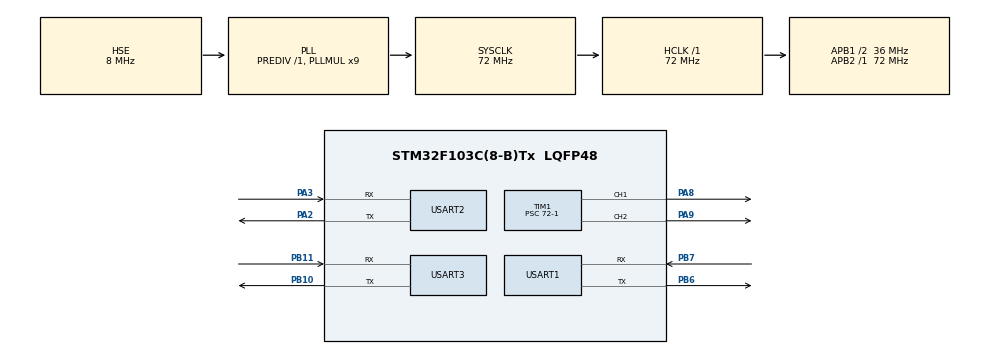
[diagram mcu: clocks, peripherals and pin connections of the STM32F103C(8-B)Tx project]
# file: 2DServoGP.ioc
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Dma.Request0=USART2_RX
Dma.Request1=USART2_TX
Dma.USART2_RX.0.Direction=DMA_PERIPH_TO_MEMORY
Dma.USART2_RX.0.Instance=DMA1_Channel6
Dma.USART2_RX.0.MemDataAlignment=DMA_MDATAALIGN_BYTE
Dma.USART2_RX.0.MemInc=DMA_MINC_ENABLE
Dma.USART2_RX.0.Mode=DMA_CIRCULAR
Dma.USART2_RX.0.PeriphDataAlignment=DMA_PDATAALIGN_BYTE
Dma.USART2_RX.0.PeriphInc=DMA_PINC_DISABLE
Dma.USART2_RX.0.Priority=DMA_PRIORITY_LOW
Dma.USART2_TX.1.Direction=DMA_MEMORY_TO_PERIPH
Dma.USART2_TX.1.Instance=DMA1_Channel7
Dma.USART2_TX.1.MemDataAlignment=DMA_MDATAALIGN_BYTE
Dma.USART2_TX.1.MemInc=DMA_MINC_ENABLE
Dma.USART2_TX.1.Mode=DMA_CIRCULAR
Dma.USART2_TX.1.PeriphDataAlignment=DMA_PDATAALIGN_BYTE
Dma.USART2_TX.1.PeriphInc=DMA_PINC_DISABLE
Dma.USART2_TX.1.Priority=DMA_PRIORITY_LOW
Mcu.Family=STM32F1
Mcu.Name=STM32F103C(8-B)Tx
Mcu.Package=LQFP48
NVIC.DMA1_Channel6_IRQn=true\:0\:0\:false\:false\:true\:false\:true\:true
NVIC.DMA1_Channel7_IRQn=true\:0\:0\:false\:false\:true\:false\:true\:true
NVIC.PriorityGroup=NVIC_PRIORITYGROUP_4
NVIC.TIM2_IRQn=true\:1\:0\:true\:false\:true\:true\:true\:true
NVIC.USART2_IRQn=true\:0\:0\:true\:false\:true\:true\:true\:true
PA13.Mode=Serial_Wire
PA13.Signal=SYS_JTMS-SWDIO
PA14.Mode=Serial_Wire
PA14.Signal=SYS_JTCK-SWCLK
PA2.Mode=Asynchronous
PA2.Signal=USART2_TX
PA3.Mode=Asynchronous
PA3.Signal=USART2_RX
PA8.Signal=S_TIM1_CH1
PA9.Signal=S_TIM1_CH2
PB10.Mode=Asynchronous
PB10.Signal=USART3_TX
PB11.Mode=Asynchronous
PB11.Signal=USART3_RX
PB6.Mode=Asynchronous
PB6.Signal=USART1_TX
PB7.Mode=Asynchronous
PB7.Signal=USART1_RX
PD0-OSC_IN.Mode=HSE-External-Oscillator
PD0-OSC_IN.Signal=RCC_OSC_IN
PD1-OSC_OUT.Mode=HSE-External-Oscillator
PD1-OSC_OUT.Signal=RCC_OSC_OUT
ProjectManager.HeapSize=0x200
ProjectManager.StackSize=0x400
ProjectManager.TargetToolchain=CMake
RCC.AHBFreq_Value=72000000
RCC.APB1CLKDivider=RCC_HCLK_DIV2
RCC.APB1Freq_Value=36000000
RCC.APB1TimFreq_Value=72000000
RCC.APB2Freq_Value=72000000
RCC.APB2TimFreq_Value=72000000
RCC.HCLKFreq_Value=72000000
RCC.PLLMUL=RCC_PLL_MUL9
RCC.PLLSourceVirtual=RCC_PLLSOURCE_HSE
RCC.SYSCLKFreq_VALUE=72000000
RCC.SYSCLKSource=RCC_SYSCLKSOURCE_PLLCLK
RCC.USBFreq_Value=72000000
SH.S_TIM1_CH1.0=TIM1_CH1,PWM Generation1 CH1
SH.S_TIM1_CH2.0=TIM1_CH2,PWM Generation2 CH2
TIM1.AutoReloadPreload=TIM_AUTORELOAD_PRELOAD_ENABLE
TIM1.Channel-PWM\ Generation1\ CH1=TIM_CHANNEL_1
TIM1.Channel-PWM\ Generation2\ CH2=TIM_CHANNEL_2
TIM1.Period=40000-1
TIM1.Prescaler=72-1
TIM2.AutoReloadPreload=TIM_AUTORELOAD_PRELOAD_ENABLE
TIM2.Prescaler=72-1
USART1.VirtualMode=VM_ASYNC
USART2.VirtualMode=VM_ASYNC
USART3.VirtualMode=VM_ASYNC
VP_TIM1_VS_ClockSourceINT.Mode=Internal
VP_TIM2_VS_ClockSourceINT.Mode=Internal
board=custom

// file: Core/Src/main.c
/* USER CODE BEGIN Header */
/**
  ******************************************************************************
  * @file           : main.c
  * @brief          : Main program body
  ******************************************************************************
  * @attention
  *
  * Copyright (c) 2026 STMicroelectronics.
  * All rights reserved.
  *
  * This software is licensed under terms that can be found in the LICENSE file
  * in the root directory of this software component.
  * If no LICENSE file comes with this software, it is provided AS-IS.
  *
  ******************************************************************************
  */
/* USER CODE END Header */
#include "main.h"
#include "dma.h"
#include "tim.h"
#include "usart.h"
#include "gpio.h"

/* USER CODE BEGIN Includes */
#include <stdio.h>
#include <string.h>
#include "core.h"
#include "PID.h"
#include "Emm_v5.h"
/* USER CODE END Includes */

/* USER CODE BEGIN PD */
#define RXBUFFERSIZE  256

/* USER CODE END PD */

/* USER CODE BEGIN PV */
uint8_t rx_buffer[RXBUFFERSIZE + 1];	// Extra byte for the parser terminator
volatile uint16_t rx_len; 		//接收到的数据长度
volatile uint8_t recv_end_flag; 		//接收结束标志位
extern TIM_HandleTypeDef htim2;
extern DMA_HandleTypeDef hdma_usart2_rx;

PID_t x_PID;
PID_t y_PID;

float bujin_angle1 = 0;
float Servo_angle2;
int cx, cy,flag;
int32_t cnt;
/* USER CODE END PV */

void SystemClock_Config(void);

/* USER CODE BEGIN 0 */
int __io_putchar(int ch)
{
  HAL_UART_Transmit(&huart3, (uint8_t *)&ch, 1, HAL_MAX_DELAY);
  return ch;
}
/* USER CODE END 0 */

int main(void)
{

  /* USER CODE BEGIN 1 */
  x_PID.Kp = 2.3;
  x_PID.Ki = 0;
  x_PID.Kd = 5;
  y_PID.Kp = 6.3;
  y_PID.Ki = 0;
  y_PID.Kd = 3;
  cx = 80;
  cy = 60;
  Servo_angle2 = 180;
  /* USER CODE END 1 */

  /* MCU Configuration--------------------------------------------------------*/

  /* Reset of all peripherals, Initializes the Flash interface and the Systick. */
  HAL_Init();

  /* Configure the system clock */
  SystemClock_Config();

  /* Initialize all configured peripherals */
  MX_GPIO_Init();
  MX_DMA_Init();
  MX_TIM1_Init();
  MX_TIM2_Init();
  MX_USART2_UART_Init();
  MX_USART1_UART_Init();
  MX_USART3_UART_Init();
  /* USER CODE BEGIN 2 */
  HAL_TIM_PWM_Start(&htim1, TIM_CHANNEL_2);
  float ccr = 500 + (Servo_angle2 * 2000 / 270);
  __HAL_TIM_SET_COMPARE(&htim1, TIM_CHANNEL_2, ccr);

  HAL_TIM_Base_Start_IT(&htim2);
  __HAL_UART_ENABLE_IT(&huart2, UART_IT_IDLE);
  HAL_UART_Receive_DMA(&huart2,rx_buffer,RXBUFFERSIZE);

  PID_Init(&x_PID);
  PID_Init(&y_PID);

  // PID_Init(&y_PID);
  // y_PID.Kp = 0.1;
  // y_PID.Ki = 0.1;
  // y_PID.Kd = 0.1;
  // __HAL_TIM_SET_COMPARE(&htim1,TIM_CHANNEL_1 ,1500);
  // __HAL_TIM_SET_COMPARE(&htim1,TIM_CHANNEL_2 ,1000);

  //开启UART1中断
  /* USART1 is transmit-only for the stepper driver. */
  /* USER CODE END 2 */

  /* Infinite loop */
  /* USER CODE BEGIN WHILE */
  while (1)
  {

    // if(recv_end_flag == 1)
    // {
    //   // 打印解析后的cx/cy（正确输出数值）
    //   printf("cx: %d, cy: %d\r\n", cx, cy);
    //   // 打印原始接收数据（可选，调试用）
    //   // printf("原始数据：");
    //   // for(uint16_t i=0; i<rx_len; i++)
    //   // {
    //   //   printf("%c", rx_buffer[i]);
    //   // }
    //   printf("\r\n");
    //
    //   recv_end_flag = 0; // 清除标志位
    //   rx_len = 0;        // 重置接收长度
    // }

    // Tilt(cx,cy);
    // HAL_Delay(10); // 降低循环频率，避免占用过多CPU
    /* USER CODE END WHILE */

  }
}

void SystemClock_Config(void)
{
  RCC_OscInitTypeDef RCC_OscInitStruct = {0};
  RCC_ClkInitTypeDef RCC_ClkInitStruct = {0};

  /** Initializes the RCC Oscillators according to the specified parameters
  * in the RCC_OscInitTypeDef structure.
  */
  RCC_OscInitStruct.OscillatorType = RCC_OSCILLATORTYPE_HSE;
  RCC_OscInitStruct.HSEState = RCC_HSE_ON;
  RCC_OscInitStruct.HSEPredivValue = RCC_HSE_PREDIV_DIV1;
  RCC_OscInitStruct.HSIState = RCC_HSI_ON;
  RCC_OscInitStruct.PLL.PLLState = RCC_PLL_ON;
  RCC_OscInitStruct.PLL.PLLSource = RCC_PLLSOURCE_HSE;
  RCC_OscInitStruct.PLL.PLLMUL = RCC_PLL_MUL9;
  if (HAL_RCC_OscConfig(&RCC_OscInitStruct) != HAL_OK)
  {
    Error_Handler();
  }

  /** Initializes the CPU, AHB and APB buses clocks
  */
  RCC_ClkInitStruct.ClockType = RCC_CLOCKTYPE_HCLK|RCC_CLOCKTYPE_SYSCLK
                              |RCC_CLOCKTYPE_PCLK1|RCC_CLOCKTYPE_PCLK2;
  RCC_ClkInitStruct.SYSCLKSource = RCC_SYSCLKSOURCE_PLLCLK;
  RCC_ClkInitStruct.AHBCLKDivider = RCC_SYSCLK_DIV1;
  RCC_ClkInitStruct.APB1CLKDivider = RCC_HCLK_DIV2;
  RCC_ClkInitStruct.APB2CLKDivider = RCC_HCLK_DIV1;

  if (HAL_RCC_ClockConfig(&RCC_ClkInitStruct, FLASH_LATENCY_2) != HAL_OK)
  {
    Error_Handler();
  }
}

/* USER CODE BEGIN 4 */

//核心控制
void HAL_TIM_PeriodElapsedCallback(TIM_HandleTypeDef *htim)
{
  if (htim->Instance == TIM2)  // 确认是TIM2中断
  {
    if (recv_end_flag == 1)  // 仅当接收到OpenMV数据时执行
    {
        Tilt(cx, cy);          // 调用控制函数
        recv_end_flag = 0;     // 清除接收标志，避免重复处理
    }
  }
}

//接收摄像头获取的数据
void USART2_IRQHandler(void)
{
  uint32_t tmp_flag = 0;
  uint32_t temp = 0;

  // HAL库核心中断处理（必须保留）
  HAL_UART_IRQHandler(&huart2);

  // 检测IDLE空闲中断（接收完成标志）
  tmp_flag = __HAL_UART_GET_FLAG(&huart2, UART_FLAG_IDLE);
  if((tmp_flag != RESET))
  {
    __HAL_UART_CLEAR_IDLEFLAG(&huart2); // 清除IDLE标志
    HAL_UART_DMAStop(&huart2);          // 停止DMA接收

    // 计算实际接收长度
    temp = __HAL_DMA_GET_COUNTER(&hdma_usart2_rx);
    rx_len = RXBUFFERSIZE - temp;

    // Parse only a complete x y flag triple from the OpenMV camera.
    if (rx_len > 0 && rx_len <= RXBUFFERSIZE)
    {
      int parsed_x, parsed_y, parsed_flag;
      rx_buffer[rx_len] = '\0';
      if (sscanf((const char *)rx_buffer, "%d %d %d",
                 &parsed_x, &parsed_y, &parsed_flag) == 3 &&
          parsed_x >= 0 && parsed_x < 320 &&
          parsed_y >= 0 && parsed_y < 240 &&
          (parsed_flag == 0 || parsed_flag == 1))
      {
        cx = parsed_x;
        cy = parsed_y;
        flag = parsed_flag;
        recv_end_flag = 1;
      }
    }

    // 清空缓冲区，重启DMA接收（关键：等待下一次数据）
    memset(rx_buffer, 0, RXBUFFERSIZE);
    HAL_UART_Receive_DMA(&huart2, rx_buffer, RXBUFFERSIZE);
  }
}

/* USER CODE END 4 */

void Error_Handler(void)
{
  __disable_irq();
  while (1)
  {
  }
}
